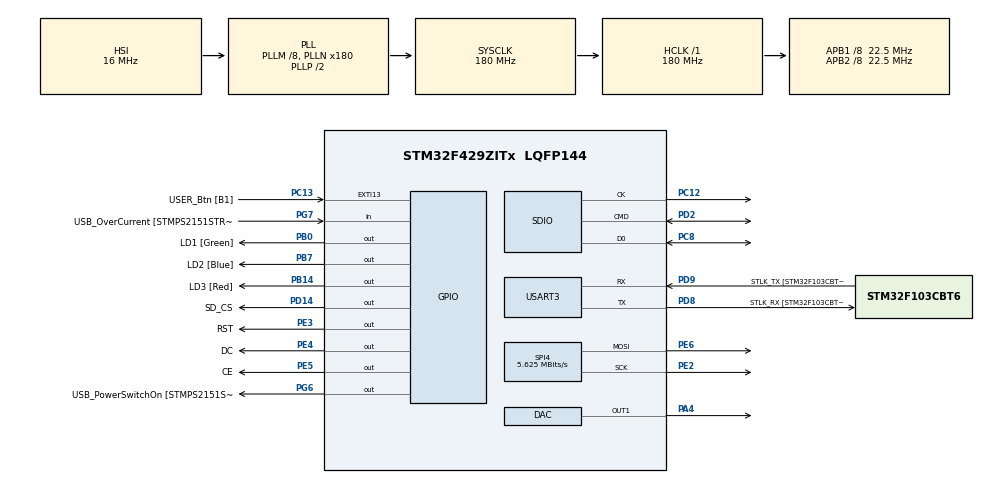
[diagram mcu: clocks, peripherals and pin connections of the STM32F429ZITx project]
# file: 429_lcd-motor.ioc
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FATFS.USE_DMA_CODE_SD=0
FATFS._FS_RPATH=2
FATFS._USE_LFN=1
Mcu.Family=STM32F4
Mcu.Name=STM32F429ZITx
Mcu.Package=LQFP144
NVIC.PriorityGroup=NVIC_PRIORITYGROUP_4
NVIC.SDIO_IRQn=true\:0\:0\:false\:false\:true\:true\:true
NVIC.SPI4_IRQn=true\:0\:0\:false\:false\:true\:true\:true
NVIC.TIM2_IRQn=true\:0\:0\:false\:true\:true\:1\:true\:true
PA1.GPIO_Label=RMII_REF_CLK [LAN8742A-CZ-TR_REFCLK0]
PA1.Signal=ETH_REF_CLK
PA10.GPIO_Label=USB_ID
PA10.Signal=USB_OTG_FS_ID
PA11.GPIO_Label=USB_DM
PA11.Signal=USB_OTG_FS_DM
PA12.GPIO_Label=USB_DP
PA12.Signal=USB_OTG_FS_DP
PA13.GPIO_Label=TMS
PA13.Signal=SYS_JTMS-SWDIO
PA14.GPIO_Label=TCK
PA14.Signal=SYS_JTCK-SWCLK
PA2.GPIO_Label=RMII_MDIO [LAN8742A-CZ-TR_MDIO]
PA2.Signal=ETH_MDIO
PA4.Signal=COMP_DAC1_group
PA7.Signal=SPI1_MOSI
PA8.GPIO_Label=USB_SOF [TP1]
PA8.Signal=USB_OTG_FS_SOF
PA9.GPIO_Label=USB_VBUS
PA9.Signal=USB_OTG_FS_VBUS
PB0.GPIO_Label=LD1 [Green]
PB0.Signal=GPIO_Output
PB13.GPIO_Label=RMII_TXD1 [LAN8742A-CZ-TR_TXD1]
PB13.Signal=ETH_TXD1
PB14.GPIO_Label=LD3 [Red]
PB14.Signal=GPIO_Output
PB7.GPIO_Label=LD2 [Blue]
PB7.Signal=GPIO_Output
PC1.GPIO_Label=RMII_MDC [LAN8742A-CZ-TR_MDC]
PC1.Signal=ETH_MDC
PC12.GPIO_PuPd=GPIO_PULLUP
PC12.Mode=SD_1_bit
PC12.Signal=SDIO_CK
PC13.GPIO_Label=USER_Btn [B1]
PC13.Signal=GPXTI13
PC14/OSC32_IN.Signal=RCC_OSC32_IN
PC15/OSC32_OUT.Signal=RCC_OSC32_OUT
PC4.GPIO_Label=RMII_RXD0 [LAN8742A-CZ-TR_RXD0]
PC4.Signal=ETH_RXD0
PC5.GPIO_Label=RMII_RXD1 [LAN8742A-CZ-TR_RXD1]
PC5.Signal=ETH_RXD1
PC8.GPIO_PuPd=GPIO_PULLUP
PC8.Mode=SD_1_bit
PC8.Signal=SDIO_D0
PD14.GPIO_Label=SD_CS
PD14.Signal=GPIO_Output
PD2.GPIO_PuPd=GPIO_PULLUP
PD2.Mode=SD_1_bit
PD2.Signal=SDIO_CMD
PD8.GPIO_Label=STLK_RX [STM32F103CBT6_PA3]
PD8.Mode=Asynchronous
PD8.Signal=USART3_TX
PD9.GPIO_Label=STLK_TX [STM32F103CBT6_PA2]
PD9.Mode=Asynchronous
PD9.Signal=USART3_RX
PE2.Mode=TX_Only_Simplex_Unidirect_Master
PE2.Signal=SPI4_SCK
PE3.GPIO_Label=RST
PE3.PinState=GPIO_PIN_SET
PE3.Signal=GPIO_Output
PE4.GPIO_Label=DC
PE4.Signal=GPIO_Output
PE5.GPIO_Label=CE
PE5.PinState=GPIO_PIN_SET
PE5.Signal=GPIO_Output
PE6.Mode=TX_Only_Simplex_Unidirect_Master
PE6.Signal=SPI4_MOSI
PG11.GPIO_Label=RMII_TX_EN [LAN8742A-CZ-TR_TXEN]
PG11.Signal=ETH_TX_EN
PG13.GPIO_Label=RMII_TXD0 [LAN8742A-CZ-TR_TXD0]
PG13.Signal=ETH_TXD0
PG6.GPIO_Label=USB_PowerSwitchOn [STMPS2151STR_EN]
PG6.Signal=GPIO_Output
PG7.GPIO_Label=USB_OverCurrent [STMPS2151STR_FAULT]
PG7.Signal=GPIO_Input
PH0/OSC_IN.GPIO_Label=MCO [STM32F103CBT6_PA8]
PH0/OSC_IN.Signal=RCC_OSC_IN
PH1/OSC_OUT.Signal=RCC_OSC_OUT
ProjectManager.HeapSize=0x200
ProjectManager.StackSize=0x400
ProjectManager.TargetToolchain=STM32CubeIDE
RCC.48MHZClocksFreq_Value=45000000
RCC.AHBFreq_Value=180000000
RCC.APB1CLKDivider=RCC_HCLK_DIV8
RCC.APB1Freq_Value=22500000
RCC.APB1TimFreq_Value=45000000
RCC.APB2CLKDivider=RCC_HCLK_DIV8
RCC.APB2Freq_Value=22500000
RCC.APB2TimFreq_Value=45000000
RCC.CortexFreq_Value=180000000
RCC.HCLKFreq_Value=180000000
RCC.HSE_VALUE=8000000
RCC.HSI_VALUE=16000000
RCC.LSE_VALUE=32768
RCC.PLLM=8
RCC.PLLMUL=RCC_PLL_MUL9
RCC.PLLN=180
RCC.PLLQ=8
RCC.PRESCALERUSB=RCC_USBCLKSOURCE_PLL_DIV1_5
RCC.SYSCLKFreq_VALUE=180000000
RCC.SYSCLKSource=RCC_SYSCLKSOURCE_PLLCLK
RCC.SYSCLKSourceVirtual=RCC_SYSCLKSOURCE_PLLCLK
RCC.USBFreq_Value=48000000
RCC.VCOOutputFreq_Value=360000000
SDIO.ClockBypass=SDIO_CLOCK_BYPASS_DISABLE
SDIO.ClockDiv=0
SH.COMP_DAC1_group.0=DAC_OUT1,DAC_OUT1
SPI4.BaudRatePrescaler=SPI_BAUDRATEPRESCALER_4
SPI4.CalculateBaudRate=5.625 MBits/s
SPI4.Direction=SPI_DIRECTION_2LINES
SPI4.Mode=SPI_MODE_MASTER
SPI4.VirtualType=VM_MASTER
TIM2.Period=99
TIM2.Prescaler=19
TIM5.Prescaler=44
USART3.VirtualMode=VM_ASYNC
VP_FATFS_VS_SDIO.Mode=SDIO
VP_TIM2_VS_ClockSourceINT.Mode=Internal
VP_TIM5_VS_ClockSourceINT.Mode=Internal
board=NUCLEO-F429ZI

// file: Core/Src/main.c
/* USER CODE BEGIN Header */
/**
  ******************************************************************************
  * @file           : main.c
  * @brief          : Main program body
  ******************************************************************************
  * @attention
  *
  * <h2><center>&copy; Copyright (c) 2021 STMicroelectronics.
  * All rights reserved.</center></h2>
  *
  * This software component is licensed by ST under BSD 3-Clause license,
  * the "License"; You may not use this file except in compliance with the
  * License. You may obtain a copy of the License at:
  *                        opensource.org/licenses/BSD-3-Clause
  *
  ******************************************************************************
  */
/* USER CODE END Header */
#include "main.h"
#include "fatfs.h"

/* USER CODE BEGIN Includes */
#include "lcd_funcs.h"
#include "image.h"
#include "file_read.h"

#include <stdio.h>
#include <string.h>
#include <stdarg.h>
/* USER CODE END Includes */

/* USER CODE BEGIN PTD */
#ifdef __GNUC__
#define PUTCHAR_PROTOTYPE int __io_putchar(int ch)
#define GETCHAR_PROTOTYPE int __io_getchar(void)
/* With GCC, small printf (option LD Linker->Libraries->Small printf
   set to 'Yes') calls __io_putchar() */
#else
#define PUTCHAR_PROTOTYPE int fputc(int ch, FILE *f)
#define GETCHAR_PROTOTYPE int getc(FILE *f)
#endif /* __GNUC__ */
/* USER CODE END PTD */

/* USER CODE BEGIN PD */
#define CCMRAM __attribute__((section(".ccmram")))//macrofor putting variabled in ccmram
/* USER CODE END PD */

DAC_HandleTypeDef hdac;

SD_HandleTypeDef hsd;

SPI_HandleTypeDef hspi4;

TIM_HandleTypeDef htim2;
TIM_HandleTypeDef htim5;

UART_HandleTypeDef huart3;

void SystemClock_Config(void);
static void MX_GPIO_Init(void);
static void MX_SPI4_Init(void);
static void MX_USART3_UART_Init(void);
static void MX_DAC_Init(void);
static void MX_TIM2_Init(void);
static void MX_TIM5_Init(void);
static void MX_SDIO_SD_Init(void);
static void MX_NVIC_Init(void);
/* USER CODE BEGIN PFP */
void delay(unsigned int delay);
void SD_print_free(FRESULT fres);

/* USER CODE END PFP */

/* USER CODE BEGIN 0 */
uint16_t buffersize = 1024*2;
uint8_t audbuffer[1024*2] CCMRAM = {0};//put audio buffer in ccmram
uint8_t buffer[10*706] CCMRAM = {0};//video buffer in ccmram
volatile uint32_t audiocounter CCMRAM = 0;//audio sample counter

void HAL_TIM_PeriodElapsedCallback(TIM_HandleTypeDef *htim)
{
	if(htim == &htim2){
		if(audiocounter >= buffersize){
			audiocounter = 0;//reset counter when the end of the buffer has been reached
		}
		  DAC1->DHR8R1 = audbuffer[audiocounter];
		  audiocounter++;
	}
}

/* USER CODE END 0 */

int main(void)
{

  /* MCU Configuration--------------------------------------------------------*/

  /* Reset of all peripherals, Initializes the Flash interface and the Systick. */
  HAL_Init();

  /* Configure the system clock */
  SystemClock_Config();

  /* Initialize all configured peripherals */
  MX_GPIO_Init();
  MX_SPI4_Init();
  MX_USART3_UART_Init();
  MX_DAC_Init();
  MX_TIM2_Init();
  MX_FATFS_Init();
  MX_TIM5_Init();
  MX_SDIO_SD_Init();

  /* Initialize interrupts */
  MX_NVIC_Init();
  /* USER CODE BEGIN 2 */
  /*
   * dc -> pe4 low command, high data
   * ce -> pe5 active low default high
   * rst -> pe3 active low
   */
  HAL_DAC_Start(&hdac, DAC1_CHANNEL_1);
  HAL_TIM_Base_Start(&htim5);//use timer 5 for microseconds
  LCD_init(&hspi4);
  LCD_clear(&hspi4);
  LCD_write_bitmap(&hspi4, run1);

   HAL_Delay(500); //a short delay is important to let the SD card settle

   //some variables for FatFs
   FATFS FatFs; 	//Fatfs handle
   FRESULT fres; //Result after operations
   FRESULT fresa; //Result after operations

   UINT br; //read count
   UINT bra; //read count audio

   FIL fil; 		//File handle for frames
   FIL fila; 		//File handle for audio
   printf("Starting\n\r");
   //Open the file system
   fres = f_mount(&FatFs, "", 1); //1=mount now
   if (fres != FR_OK) {
 	printf("f_mount error (%i)\r\n", fres);
 	while(1);
   }
   printf("SD card mounted.\r\n");

   fres = f_open(&fil, "combined.bin", FA_READ);//open video
   if (fres != FR_OK) {
	   printf("f_open error (%i), couldn't open file\r\n", fres);
	   while(1);
   }
   printf("Opened bin file\r\n");

   fresa = f_open(&fila, "unsigned.raw", FA_READ);//open audio
   if (fresa != FR_OK) {
	   printf("f_open error (%i), couldn't open audio file\r\n", fresa);
	   while(1);
   }
   printf("Opened audio file\r\n");

   f_read(&fila, audbuffer, buffersize, &bra);//read 1000 samples initially
   printf("Read inital %u samples.\r\n", (unsigned int)buffersize);
   HAL_TIM_Base_Start_IT(&htim2);//start timer after we have samples in the buffer

   //20fps, 50 ms
   uint32_t delay = 50;
   unsigned int frames = f_size(&fil)/706;//filesize / frame size = total frames
   printf("%u frames \r\n", frames);
   //msb = bottom pixel

   /*
    *TIM2 used for audio interrupt, uses APB1 as source, 45MHz -> interrupt routine in
    *audio sample rate 22500
    *stack put in ccmram, see linker scripts (ram)
    *startup modified for ccmram usage
    */

   DAC1->DHR8R1 = 0;
  /* USER CODE END 2 */

  /* Infinite loop */
  /* USER CODE BEGIN WHILE */
  while (1)
  {
	  //uint8_t * buffer = calloc(10*706, sizeof(uint8_t));//allocate buffer big enough to store 10 images

	  unsigned int frame = 1;//frame counter
	  uint32_t prev = 0;//frame time counter
	  uint8_t flag = 0;//frame read flag

	  while(frame < frames +1){
		  if(audiocounter == buffersize/2){//first half played, update first half of the buffer
		  			  f_read(&fila, audbuffer, buffersize/2, &bra);
		  }
		  if(audiocounter == buffersize){//second half played, update like before
		  			  f_read(&fila, &audbuffer[buffersize/2], buffersize/2, &bra);
		  }

		  if(frame % 10 == 1 && flag == 0){//read more frames from file if first frame is being read or after 10 frames have been read
			  f_read(&fil, &buffer, 10*706, &br);
			  flag = 1;//prevent multiple reads while waiting
		  }

		  if(HAL_GetTick() - prev >= delay){//frame update routine
			  if(frame%10 == 0){//10th frame
				  LCD_write_BMP_array(&hspi4, &buffer[0x82+(706*9)]);
			  }else{
				  LCD_write_BMP_array(&hspi4, &buffer[0x82+(706*(frame%10-1))]);
			  }
			  prev = HAL_GetTick();
			  ++frame;
			  flag = 0;
		  }
	  }
  }

	  f_close(&fil);
	  f_mount(0, "", 0);//close file and umount sd card after video has been played
    /* USER CODE END WHILE */

}

void SystemClock_Config(void)
{
  RCC_OscInitTypeDef RCC_OscInitStruct = {0};
  RCC_ClkInitTypeDef RCC_ClkInitStruct = {0};

  /** Configure the main internal regulator output voltage
  */
  __HAL_RCC_PWR_CLK_ENABLE();
  __HAL_PWR_VOLTAGESCALING_CONFIG(PWR_REGULATOR_VOLTAGE_SCALE1);
  /** Initializes the RCC Oscillators according to the specified parameters
  * in the RCC_OscInitTypeDef structure.
  */
  RCC_OscInitStruct.OscillatorType = RCC_OSCILLATORTYPE_HSI;
  RCC_OscInitStruct.HSIState = RCC_HSI_ON;
  RCC_OscInitStruct.HSICalibrationValue = RCC_HSICALIBRATION_DEFAULT;
  RCC_OscInitStruct.PLL.PLLState = RCC_PLL_ON;
  RCC_OscInitStruct.PLL.PLLSource = RCC_PLLSOURCE_HSI;
  RCC_OscInitStruct.PLL.PLLM = 8;
  RCC_OscInitStruct.PLL.PLLN = 180;
  RCC_OscInitStruct.PLL.PLLP = RCC_PLLP_DIV2;
  RCC_OscInitStruct.PLL.PLLQ = 8;
  if (HAL_RCC_OscConfig(&RCC_OscInitStruct) != HAL_OK)
  {
    Error_Handler();
  }
  /** Activate the Over-Drive mode
  */
  if (HAL_PWREx_EnableOverDrive() != HAL_OK)
  {
    Error_Handler();
  }
  /** Initializes the CPU, AHB and APB buses clocks
  */
  RCC_ClkInitStruct.ClockType = RCC_CLOCKTYPE_HCLK|RCC_CLOCKTYPE_SYSCLK
                              |RCC_CLOCKTYPE_PCLK1|RCC_CLOCKTYPE_PCLK2;
  RCC_ClkInitStruct.SYSCLKSource = RCC_SYSCLKSOURCE_PLLCLK;
  RCC_ClkInitStruct.AHBCLKDivider = RCC_SYSCLK_DIV1;
  RCC_ClkInitStruct.APB1CLKDivider = RCC_HCLK_DIV8;
  RCC_ClkInitStruct.APB2CLKDivider = RCC_HCLK_DIV8;

  if (HAL_RCC_ClockConfig(&RCC_ClkInitStruct, FLASH_LATENCY_5) != HAL_OK)
  {
    Error_Handler();
  }
}

/**
  * @brief NVIC Configuration.
  * @retval None
  */
static void MX_NVIC_Init(void)
{
  /* TIM2_IRQn interrupt configuration */
  HAL_NVIC_SetPriority(TIM2_IRQn, 0, 0);
  HAL_NVIC_EnableIRQ(TIM2_IRQn);
}

static void MX_DAC_Init(void)
{

  DAC_ChannelConfTypeDef sConfig = {0};

  /** DAC Initialization
  */
  hdac.Instance = DAC;
  if (HAL_DAC_Init(&hdac) != HAL_OK)
  {
    Error_Handler();
  }
  /** DAC channel OUT1 config
  */
  sConfig.DAC_Trigger = DAC_TRIGGER_NONE;
  sConfig.DAC_OutputBuffer = DAC_OUTPUTBUFFER_ENABLE;
  if (HAL_DAC_ConfigChannel(&hdac, &sConfig, DAC_CHANNEL_1) != HAL_OK)
  {
    Error_Handler();
  }

}

static void MX_SDIO_SD_Init(void)
{

  hsd.Instance = SDIO;
  hsd.Init.ClockEdge = SDIO_CLOCK_EDGE_RISING;
  hsd.Init.ClockBypass = SDIO_CLOCK_BYPASS_DISABLE;
  hsd.Init.ClockPowerSave = SDIO_CLOCK_POWER_SAVE_DISABLE;
  hsd.Init.BusWide = SDIO_BUS_WIDE_1B;
  hsd.Init.HardwareFlowControl = SDIO_HARDWARE_FLOW_CONTROL_DISABLE;
  hsd.Init.ClockDiv = 0;

}

static void MX_SPI4_Init(void)
{

  /* SPI4 parameter configuration*/
  hspi4.Instance = SPI4;
  hspi4.Init.Mode = SPI_MODE_MASTER;
  hspi4.Init.Direction = SPI_DIRECTION_2LINES;
  hspi4.Init.DataSize = SPI_DATASIZE_8BIT;
  hspi4.Init.CLKPolarity = SPI_POLARITY_LOW;
  hspi4.Init.CLKPhase = SPI_PHASE_1EDGE;
  hspi4.Init.NSS = SPI_NSS_SOFT;
  hspi4.Init.BaudRatePrescaler = SPI_BAUDRATEPRESCALER_4;
  hspi4.Init.FirstBit = SPI_FIRSTBIT_MSB;
  hspi4.Init.TIMode = SPI_TIMODE_DISABLE;
  hspi4.Init.CRCCalculation = SPI_CRCCALCULATION_DISABLE;
  hspi4.Init.CRCPolynomial = 10;
  if (HAL_SPI_Init(&hspi4) != HAL_OK)
  {
    Error_Handler();
  }

}

static void MX_TIM2_Init(void)
{

  TIM_ClockConfigTypeDef sClockSourceConfig = {0};
  TIM_MasterConfigTypeDef sMasterConfig = {0};

  htim2.Instance = TIM2;
  htim2.Init.Prescaler = 19;
  htim2.Init.CounterMode = TIM_COUNTERMODE_UP;
  htim2.Init.Period = 99;
  htim2.Init.ClockDivision = TIM_CLOCKDIVISION_DIV1;
  htim2.Init.AutoReloadPreload = TIM_AUTORELOAD_PRELOAD_DISABLE;
  if (HAL_TIM_Base_Init(&htim2) != HAL_OK)
  {
    Error_Handler();
  }
  sClockSourceConfig.ClockSource = TIM_CLOCKSOURCE_INTERNAL;
  if (HAL_TIM_ConfigClockSource(&htim2, &sClockSourceConfig) != HAL_OK)
  {
    Error_Handler();
  }
  sMasterConfig.MasterOutputTrigger = TIM_TRGO_RESET;
  sMasterConfig.MasterSlaveMode = TIM_MASTERSLAVEMODE_DISABLE;
  if (HAL_TIMEx_MasterConfigSynchronization(&htim2, &sMasterConfig) != HAL_OK)
  {
    Error_Handler();
  }
  /* USER CODE BEGIN TIM2_Init 2 */
  __HAL_TIM_CLEAR_FLAG(&htim2, TIM_IT_UPDATE);
  /* USER CODE END TIM2_Init 2 */

}

static void MX_TIM5_Init(void)
{

  TIM_ClockConfigTypeDef sClockSourceConfig = {0};
  TIM_MasterConfigTypeDef sMasterConfig = {0};

  htim5.Instance = TIM5;
  htim5.Init.Prescaler = 44;
  htim5.Init.CounterMode = TIM_COUNTERMODE_UP;
  htim5.Init.Period = 4294967295;
  htim5.Init.ClockDivision = TIM_CLOCKDIVISION_DIV1;
  htim5.Init.AutoReloadPreload = TIM_AUTORELOAD_PRELOAD_DISABLE;
  if (HAL_TIM_Base_Init(&htim5) != HAL_OK)
  {
    Error_Handler();
  }
  sClockSourceConfig.ClockSource = TIM_CLOCKSOURCE_INTERNAL;
  if (HAL_TIM_ConfigClockSource(&htim5, &sClockSourceConfig) != HAL_OK)
  {
    Error_Handler();
  }
  sMasterConfig.MasterOutputTrigger = TIM_TRGO_RESET;
  sMasterConfig.MasterSlaveMode = TIM_MASTERSLAVEMODE_DISABLE;
  if (HAL_TIMEx_MasterConfigSynchronization(&htim5, &sMasterConfig) != HAL_OK)
  {
    Error_Handler();
  }

}

static void MX_USART3_UART_Init(void)
{

  huart3.Instance = USART3;
  huart3.Init.BaudRate = 115200;
  huart3.Init.WordLength = UART_WORDLENGTH_8B;
  huart3.Init.StopBits = UART_STOPBITS_1;
  huart3.Init.Parity = UART_PARITY_NONE;
  huart3.Init.Mode = UART_MODE_TX_RX;
  huart3.Init.HwFlowCtl = UART_HWCONTROL_NONE;
  huart3.Init.OverSampling = UART_OVERSAMPLING_16;
  if (HAL_UART_Init(&huart3) != HAL_OK)
  {
    Error_Handler();
  }

}

static void MX_GPIO_Init(void)
{
  GPIO_InitTypeDef GPIO_InitStruct = {0};

  /* GPIO Ports Clock Enable */
  __HAL_RCC_GPIOE_CLK_ENABLE();
  __HAL_RCC_GPIOC_CLK_ENABLE();
  __HAL_RCC_GPIOH_CLK_ENABLE();
  __HAL_RCC_GPIOA_CLK_ENABLE();
  __HAL_RCC_GPIOB_CLK_ENABLE();
  __HAL_RCC_GPIOD_CLK_ENABLE();
  __HAL_RCC_GPIOG_CLK_ENABLE();

  /*Configure GPIO pin Output Level */
  HAL_GPIO_WritePin(GPIOE, RST_Pin|CE_Pin, GPIO_PIN_SET);

  /*Configure GPIO pin Output Level */
  HAL_GPIO_WritePin(DC_GPIO_Port, DC_Pin, GPIO_PIN_RESET);

  /*Configure GPIO pin Output Level */
  HAL_GPIO_WritePin(GPIOB, LD1_Pin|LD3_Pin|LD2_Pin, GPIO_PIN_RESET);

  /*Configure GPIO pin Output Level */
  HAL_GPIO_WritePin(SD_CS_GPIO_Port, SD_CS_Pin, GPIO_PIN_RESET);

  /*Configure GPIO pin Output Level */
  HAL_GPIO_WritePin(USB_PowerSwitchOn_GPIO_Port, USB_PowerSwitchOn_Pin, GPIO_PIN_RESET);

  /*Configure GPIO pins : RST_Pin DC_Pin CE_Pin */
  GPIO_InitStruct.Pin = RST_Pin|DC_Pin|CE_Pin;
  GPIO_InitStruct.Mode = GPIO_MODE_OUTPUT_PP;
  GPIO_InitStruct.Pull = GPIO_NOPULL;
  GPIO_InitStruct.Speed = GPIO_SPEED_FREQ_LOW;
  HAL_GPIO_Init(GPIOE, &GPIO_InitStruct);

  /*Configure GPIO pin : USER_Btn_Pin */
  GPIO_InitStruct.Pin = USER_Btn_Pin;
  GPIO_InitStruct.Mode = GPIO_MODE_IT_RISING;
  GPIO_InitStruct.Pull = GPIO_NOPULL;
  HAL_GPIO_Init(USER_Btn_GPIO_Port, &GPIO_InitStruct);

  /*Configure GPIO pins : RMII_MDC_Pin RMII_RXD0_Pin RMII_RXD1_Pin */
  GPIO_InitStruct.Pin = RMII_MDC_Pin|RMII_RXD0_Pin|RMII_RXD1_Pin;
  GPIO_InitStruct.Mode = GPIO_MODE_AF_PP;
  GPIO_InitStruct.Pull = GPIO_NOPULL;
  GPIO_InitStruct.Speed = GPIO_SPEED_FREQ_VERY_HIGH;
  GPIO_InitStruct.Alternate = GPIO_AF11_ETH;
  HAL_GPIO_Init(GPIOC, &GPIO_InitStruct);

  /*Configure GPIO pins : RMII_REF_CLK_Pin RMII_MDIO_Pin */
  GPIO_InitStruct.Pin = RMII_REF_CLK_Pin|RMII_MDIO_Pin;
  GPIO_InitStruct.Mode = GPIO_MODE_AF_PP;
  GPIO_InitStruct.Pull = GPIO_NOPULL;
  GPIO_InitStruct.Speed = GPIO_SPEED_FREQ_VERY_HIGH;
  GPIO_InitStruct.Alternate = GPIO_AF11_ETH;
  HAL_GPIO_Init(GPIOA, &GPIO_InitStruct);

  /*Configure GPIO pin : PA7 */
  GPIO_InitStruct.Pin = GPIO_PIN_7;
  GPIO_InitStruct.Mode = GPIO_MODE_AF_PP;
  GPIO_InitStruct.Pull = GPIO_NOPULL;
  GPIO_InitStruct.Speed = GPIO_SPEED_FREQ_VERY_HIGH;
  GPIO_InitStruct.Alternate = GPIO_AF5_SPI1;
  HAL_GPIO_Init(GPIOA, &GPIO_InitStruct);

  /*Configure GPIO pins : LD1_Pin LD3_Pin LD2_Pin */
  GPIO_InitStruct.Pin = LD1_Pin|LD3_Pin|LD2_Pin;
  GPIO_InitStruct.Mode = GPIO_MODE_OUTPUT_PP;
  GPIO_InitStruct.Pull = GPIO_NOPULL;
  GPIO_InitStruct.Speed = GPIO_SPEED_FREQ_LOW;
  HAL_GPIO_Init(GPIOB, &GPIO_InitStruct);

  /*Configure GPIO pin : RMII_TXD1_Pin */
  GPIO_InitStruct.Pin = RMII_TXD1_Pin;
  GPIO_InitStruct.Mode = GPIO_MODE_AF_PP;
  GPIO_InitStruct.Pull = GPIO_NOPULL;
  GPIO_InitStruct.Speed = GPIO_SPEED_FREQ_VERY_HIGH;
  GPIO_InitStruct.Alternate = GPIO_AF11_ETH;
  HAL_GPIO_Init(RMII_TXD1_GPIO_Port, &GPIO_InitStruct);

  /*Configure GPIO pin : SD_CS_Pin */
  GPIO_InitStruct.Pin = SD_CS_Pin;
  GPIO_InitStruct.Mode = GPIO_MODE_OUTPUT_PP;
  GPIO_InitStruct.Pull = GPIO_NOPULL;
  GPIO_InitStruct.Speed = GPIO_SPEED_FREQ_LOW;
  HAL_GPIO_Init(SD_CS_GPIO_Port, &GPIO_InitStruct);

  /*Configure GPIO pin : USB_PowerSwitchOn_Pin */
  GPIO_InitStruct.Pin = USB_PowerSwitchOn_Pin;
  GPIO_InitStruct.Mode = GPIO_MODE_OUTPUT_PP;
  GPIO_InitStruct.Pull = GPIO_NOPULL;
  GPIO_InitStruct.Speed = GPIO_SPEED_FREQ_LOW;
  HAL_GPIO_Init(USB_PowerSwitchOn_GPIO_Port, &GPIO_InitStruct);

  /*Configure GPIO pin : USB_OverCurrent_Pin */
  GPIO_InitStruct.Pin = USB_OverCurrent_Pin;
  GPIO_InitStruct.Mode = GPIO_MODE_INPUT;
  GPIO_InitStruct.Pull = GPIO_NOPULL;
  HAL_GPIO_Init(USB_OverCurrent_GPIO_Port, &GPIO_InitStruct);

  /*Configure GPIO pins : USB_SOF_Pin USB_ID_Pin USB_DM_Pin USB_DP_Pin */
  GPIO_InitStruct.Pin = USB_SOF_Pin|USB_ID_Pin|USB_DM_Pin|USB_DP_Pin;
  GPIO_InitStruct.Mode = GPIO_MODE_AF_PP;
  GPIO_InitStruct.Pull = GPIO_NOPULL;
  GPIO_InitStruct.Speed = GPIO_SPEED_FREQ_VERY_HIGH;
  GPIO_InitStruct.Alternate = GPIO_AF10_OTG_FS;
  HAL_GPIO_Init(GPIOA, &GPIO_InitStruct);

  /*Configure GPIO pin : USB_VBUS_Pin */
  GPIO_InitStruct.Pin = USB_VBUS_Pin;
  GPIO_InitStruct.Mode = GPIO_MODE_INPUT;
  GPIO_InitStruct.Pull = GPIO_NOPULL;
  HAL_GPIO_Init(USB_VBUS_GPIO_Port, &GPIO_InitStruct);

  /*Configure GPIO pins : RMII_TX_EN_Pin RMII_TXD0_Pin */
  GPIO_InitStruct.Pin = RMII_TX_EN_Pin|RMII_TXD0_Pin;
  GPIO_InitStruct.Mode = GPIO_MODE_AF_PP;
  GPIO_InitStruct.Pull = GPIO_NOPULL;
  GPIO_InitStruct.Speed = GPIO_SPEED_FREQ_VERY_HIGH;
  GPIO_InitStruct.Alternate = GPIO_AF11_ETH;
  HAL_GPIO_Init(GPIOG, &GPIO_InitStruct);

}

/* USER CODE BEGIN 4 */
PUTCHAR_PROTOTYPE
{
  HAL_UART_Transmit(&huart3, (uint8_t *)&ch, 1, 1000);
  return ch;
}

GETCHAR_PROTOTYPE
{
  int ch = 0;
  HAL_UART_Receive(&huart3, (uint8_t *)&ch, 1, 1000);
  HAL_UART_Transmit(&huart3, (uint8_t *)&ch, 1, 1000);
  return ch;
}

void delay(unsigned int delay){
		__HAL_TIM_SET_COUNTER(&htim2,0);  // set the counter value a 0
		while (__HAL_TIM_GET_COUNTER(&htim2) < delay);  // wait for the counter to reach the us input in the parameter
}

void SD_print_free(FRESULT fres){
	   //Let's get some statistics from the SD card
	   DWORD free_clusters, free_sectors, total_sectors;

	   FATFS* getFreeFs;

	   fres = f_getfree("", &free_clusters, &getFreeFs);
	   if (fres != FR_OK) {
	 	printf("f_getfree error (%i)\r\n", fres);
	 	while(1);
	   }

	   //Formula comes from ChaN's documentation
	   total_sectors = (getFreeFs->n_fatent - 2) * getFreeFs->csize;
	   free_sectors = free_clusters * getFreeFs->csize;

	   printf("SD card stats:\r\n%10lu KiB total drive space.\r\n%10lu KiB available.\r\n", total_sectors / 2, free_sectors / 2);
}

/* USER CODE END 4 */

void Error_Handler(void)
{
  __disable_irq();
  while (1)
  {
  }
}

/************************ (C) COPYRIGHT STMicroelectronics *****END OF FILE****/
